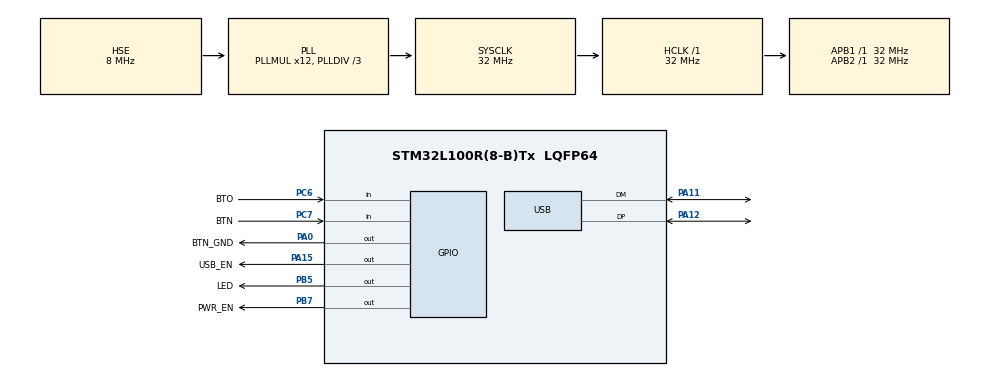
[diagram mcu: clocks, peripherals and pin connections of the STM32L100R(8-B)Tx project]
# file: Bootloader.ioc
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Mcu.Family=STM32L1
Mcu.Name=STM32L100R(8-B)Tx
Mcu.Package=LQFP64
NVIC.PriorityGroup=NVIC_PRIORITYGROUP_4
NVIC.USB_LP_IRQn=true\:3\:0\:true\:false\:true\:false\:true
PA0-WKUP1.GPIO_Label=BTN_GND
PA0-WKUP1.Signal=GPIO_Output
PA11.Mode=Device
PA11.Signal=USB_DM
PA12.Mode=Device
PA12.Signal=USB_DP
PA13.GPIO_Label=SWDIO
PA13.Mode=Serial_Wire
PA13.Signal=SYS_JTMS-SWDIO
PA14.GPIO_Label=SWCLK
PA14.Mode=Serial_Wire
PA14.Signal=SYS_JTCK-SWCLK
PA15.GPIO_Label=USB_EN
PA15.Signal=GPIO_Output
PB5.GPIO_Label=LED
PB5.Signal=GPIO_Output
PB7.GPIO_Label=PWR_EN
PB7.PinState=GPIO_PIN_SET
PB7.Signal=GPIO_Output
PC6.GPIO_Label=BTO
PC6.GPIO_PuPd=GPIO_PULLUP
PC6.Signal=GPIO_Input
PC7.GPIO_Label=BTN
PC7.GPIO_PuPd=GPIO_PULLUP
PC7.Signal=GPIO_Input
PH0-OSC_IN.Mode=HSE-External-Oscillator
PH0-OSC_IN.Signal=RCC_OSC_IN
PH1-OSC_OUT.Mode=HSE-External-Oscillator
PH1-OSC_OUT.Signal=RCC_OSC_OUT
ProjectManager.HeapSize=0x200
ProjectManager.StackSize=0x400
ProjectManager.TargetToolchain=MDK-ARM V5
RCC.48MHZClocksFreq_Value=48000000
RCC.AHBFreq_Value=32000000
RCC.APB1Freq_Value=32000000
RCC.APB1TimFreq_Value=32000000
RCC.APB2Freq_Value=32000000
RCC.APB2TimFreq_Value=32000000
RCC.HCLKFreq_Value=32000000
RCC.HSE_VALUE=8000000
RCC.HSI_VALUE=16000000
RCC.LSE_VALUE=32768
RCC.MSI_VALUE=2097000
RCC.PLLDIV=RCC_PLL_DIV3
RCC.PLLMUL=RCC_PLL_MUL12
RCC.PREFETCH_ENABLE=1
RCC.SYSCLKFreq_VALUE=32000000
RCC.SYSCLKSource=RCC_SYSCLKSOURCE_PLLCLK
RCC.VCOOutputFreq_Value=96000000
USB_DEVICE.CLASS_NAME_FS=DFU
USB_DEVICE.PID_DFU_FS=57105
USB_DEVICE.USBD_DFU_APP_DEFAULT_ADD=0x08010000
USB_DEVICE.USBD_DFU_MEDIA=@Internal Flash   /0x08000000/3*04Ka,13*04Kg, 16*04Kg
USB_DEVICE.VID=1155
USB_DEVICE.VirtualMode=Dfu
USB_DEVICE.VirtualModeFS=Dfu_FS
VP_USB_DEVICE_VS_USB_DEVICE_DFU_FS.Mode=DFU_FS
board=custom

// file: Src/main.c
/* USER CODE BEGIN Header */
/**
  ******************************************************************************
  * @file           : main.c
  * @brief          : Main program body
  ******************************************************************************
  * @attention
  *
  * <h2><center>&copy; Copyright (c) 2020 STMicroelectronics.
  * All rights reserved.</center></h2>
  *
  * This software component is licensed by ST under Ultimate Liberty license
  * SLA0044, the "License"; You may not use this file except in compliance with
  * the License. You may obtain a copy of the License at:
  *                             www.st.com/SLA0044
  *
  ******************************************************************************
  */
/* USER CODE END Header */

#include "main.h"
#include "usb_device.h"

/* USER CODE BEGIN Includes */
#include "stdbool.h"
/* USER CODE END Includes */

void SystemClock_Config(void);
static void MX_GPIO_Init(void);
/* USER CODE BEGIN PFP */

bool IsAppExist(uint32_t addr);
bool IsKeyPressed(void);
bool IsBTOPressed(void);

void RunApp(uint32_t appAddr);

typedef void (*pFunction)(void);
pFunction JumpToApplication;
uint32_t JumpAddress;

/* USER CODE END PFP */

int main(void)
{

  /* MCU Configuration--------------------------------------------------------*/

  /* Reset of all peripherals, Initializes the Flash interface and the Systick. */
  HAL_Init();

  /* Configure the system clock */
  SystemClock_Config();

  /* USER CODE BEGIN SysInit */
	MX_GPIO_Init();
#if 1
	if((IsAppExist(USBD_DFU_APP_DEFAULT_ADD) && IsAppExist(USBD_OFFICIAL_APP_ADD)) && !IsKeyPressed())

  {
		volatile uint32_t appAddr = IsBTOPressed()&& IsAppExist(USBD_OFFICIAL_APP_ADD) ? USBD_OFFICIAL_APP_ADD : USBD_DFU_APP_DEFAULT_ADD;

    //RunApp();	//this will cost more flash space
		JumpAddress = *(__IO uint32_t*)(appAddr + 4);
		JumpToApplication = (pFunction) JumpAddress;

		__set_MSP(*(__IO uint32_t*)appAddr);
		JumpToApplication();
  }

#else

	if(!IsKeyPressed())
	{
		if(((*(__IO uint32_t*)USBD_DFU_APP_DEFAULT_ADD) & 0x2FFE0000) == 0x20000000) //other isAppExist()
		{
			JumpAddress = *(__IO uint32_t*)(USBD_DFU_APP_DEFAULT_ADD +4);
			JumpToApplication = (pFunction) JumpAddress;

			__set_MSP(*(__IO uint32_t*)USBD_DFU_APP_DEFAULT_ADD);
			JumpToApplication();
		 }
	 }
#endif
  /* USER CODE END SysInit */

  /* Initialize all configured peripherals */
  MX_GPIO_Init();
  MX_USB_DEVICE_Init();

  /* Infinite loop */
  /* USER CODE BEGIN WHILE */
  while (1)
  {
		HAL_GPIO_TogglePin(LED_GPIO_Port, LED_Pin);
		HAL_Delay(300);

    /* USER CODE END WHILE */

  }
}

void SystemClock_Config(void)
{
  RCC_OscInitTypeDef RCC_OscInitStruct = {0};
  RCC_ClkInitTypeDef RCC_ClkInitStruct = {0};

  /** Configure the main internal regulator output voltage
  */
  __HAL_PWR_VOLTAGESCALING_CONFIG(PWR_REGULATOR_VOLTAGE_SCALE1);
  /** Initializes the CPU, AHB and APB busses clocks
  */
  RCC_OscInitStruct.OscillatorType = RCC_OSCILLATORTYPE_HSE;
  RCC_OscInitStruct.HSEState = RCC_HSE_ON;
  RCC_OscInitStruct.PLL.PLLState = RCC_PLL_ON;
  RCC_OscInitStruct.PLL.PLLSource = RCC_PLLSOURCE_HSE;
  RCC_OscInitStruct.PLL.PLLMUL = RCC_PLL_MUL12;
  RCC_OscInitStruct.PLL.PLLDIV = RCC_PLL_DIV3;
  if (HAL_RCC_OscConfig(&RCC_OscInitStruct) != HAL_OK)
  {
    Error_Handler();
  }
  /** Initializes the CPU, AHB and APB busses clocks
  */
  RCC_ClkInitStruct.ClockType = RCC_CLOCKTYPE_HCLK|RCC_CLOCKTYPE_SYSCLK
                              |RCC_CLOCKTYPE_PCLK1|RCC_CLOCKTYPE_PCLK2;
  RCC_ClkInitStruct.SYSCLKSource = RCC_SYSCLKSOURCE_PLLCLK;
  RCC_ClkInitStruct.AHBCLKDivider = RCC_SYSCLK_DIV1;
  RCC_ClkInitStruct.APB1CLKDivider = RCC_HCLK_DIV1;
  RCC_ClkInitStruct.APB2CLKDivider = RCC_HCLK_DIV1;

  if (HAL_RCC_ClockConfig(&RCC_ClkInitStruct, FLASH_LATENCY_1) != HAL_OK)
  {
    Error_Handler();
  }
}

static void MX_GPIO_Init(void)
{
  GPIO_InitTypeDef GPIO_InitStruct = {0};

  /* GPIO Ports Clock Enable */
  __HAL_RCC_GPIOH_CLK_ENABLE();
  __HAL_RCC_GPIOA_CLK_ENABLE();
  __HAL_RCC_GPIOC_CLK_ENABLE();
  __HAL_RCC_GPIOB_CLK_ENABLE();

  /*Configure GPIO pin Output Level */
  HAL_GPIO_WritePin(GPIOA, BTN_GND_Pin|USB_EN_Pin, GPIO_PIN_RESET);

  /*Configure GPIO pin Output Level */
  HAL_GPIO_WritePin(LED_GPIO_Port, LED_Pin, GPIO_PIN_RESET);

  /*Configure GPIO pin Output Level */
  HAL_GPIO_WritePin(PWR_EN_GPIO_Port, PWR_EN_Pin, GPIO_PIN_SET);

  /*Configure GPIO pins : BTN_GND_Pin USB_EN_Pin */
  GPIO_InitStruct.Pin = BTN_GND_Pin|USB_EN_Pin;
  GPIO_InitStruct.Mode = GPIO_MODE_OUTPUT_PP;
  GPIO_InitStruct.Pull = GPIO_NOPULL;
  GPIO_InitStruct.Speed = GPIO_SPEED_FREQ_LOW;
  HAL_GPIO_Init(GPIOA, &GPIO_InitStruct);

  /*Configure GPIO pins : BTO_Pin BTN_Pin */
  GPIO_InitStruct.Pin = BTO_Pin|BTN_Pin;
  GPIO_InitStruct.Mode = GPIO_MODE_INPUT;
  GPIO_InitStruct.Pull = GPIO_PULLUP;
  HAL_GPIO_Init(GPIOC, &GPIO_InitStruct);

  /*Configure GPIO pins : LED_Pin PWR_EN_Pin */
  GPIO_InitStruct.Pin = LED_Pin|PWR_EN_Pin;
  GPIO_InitStruct.Mode = GPIO_MODE_OUTPUT_PP;
  GPIO_InitStruct.Pull = GPIO_NOPULL;
  GPIO_InitStruct.Speed = GPIO_SPEED_FREQ_LOW;
  HAL_GPIO_Init(GPIOB, &GPIO_InitStruct);

}

/* USER CODE BEGIN 4 */
/* USER CODE BEGIN 4 */
bool IsAppExist(uint32_t addr)
{
  uint32_t *mem = (uint32_t*)addr;

  if ((mem[0] == 0x00000000 || mem[0] == 0xFFFFFFFF)
      &&(mem[1] == 0x00000000 || mem[1] == 0xFFFFFFFF))
  {
    return false;
  }
  return true;
}

void RunApp(uint32_t appAddr)
{
  /* Function pointer to the address of the user application. */

	uint32_t appStack;
	pFunction appEntry;

	//__disable_irq();		//won't work when this execute
  //HAL_NVIC_ClearPendingIRQ(SysTick_IRQn);

	// get the application stack pointer (1st entry in the app vector table)
	appStack = (uint32_t)*((__IO uint32_t*)appAddr);

	// Get the app entry point (2nd entry in the app vector table
	appEntry = (pFunction)*(__IO uint32_t*)(appAddr + 4);

	HAL_RCC_DeInit();
	HAL_DeInit();

	SysTick->CTRL = 0;
	SysTick->LOAD = 0;
	SysTick->VAL  = 0;

	// Reconfigure vector table offset to match the app location
	SCB->VTOR = appAddr;
	__set_MSP(appStack); // Set app stack pointer
	appEntry(); // Start the app

	while (1); // never reached
}

bool IsKeyPressed(void)
{
  return (HAL_GPIO_ReadPin(BTN_GPIO_Port, BTN_Pin) == GPIO_PIN_RESET);
}

bool IsBTOPressed(void)
{
  return (HAL_GPIO_ReadPin(BTO_GPIO_Port, BTO_Pin) == GPIO_PIN_RESET);
}

/* USER CODE END 4 */

void Error_Handler(void)
{
}

/************************ (C) COPYRIGHT STMicroelectronics *****END OF FILE****/
